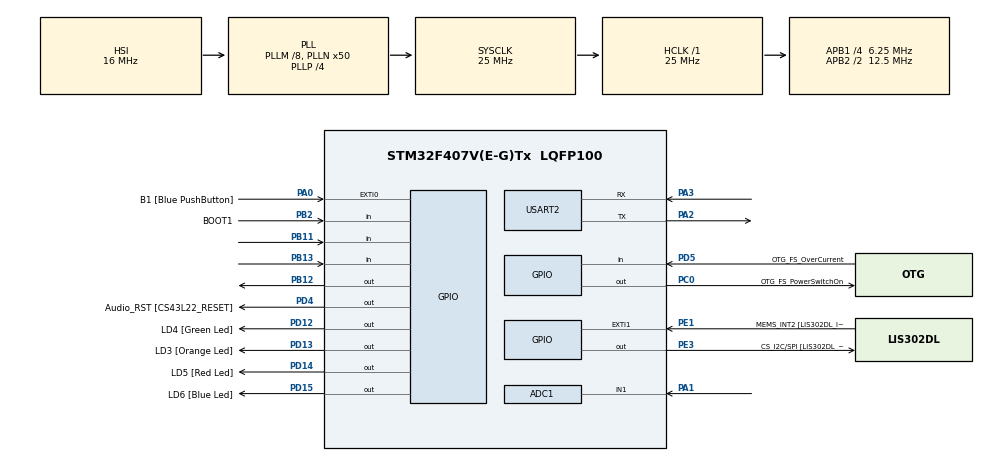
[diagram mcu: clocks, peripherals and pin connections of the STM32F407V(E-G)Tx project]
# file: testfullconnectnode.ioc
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ADC1.Channel-0\#ChannelRegularConversion=ADC_CHANNEL_1
ADC1.NbrOfConversionFlag=1
ADC1.Rank-0\#ChannelRegularConversion=1
ADC1.SamplingTime-0\#ChannelRegularConversion=ADC_SAMPLETIME_3CYCLES
ADC1.master=1
Mcu.Family=STM32F4
Mcu.Name=STM32F407V(E-G)Tx
Mcu.Package=LQFP100
NVIC.ADC_IRQn=true\:0\:0\:false\:false\:true\:true
NVIC.PriorityGroup=NVIC_PRIORITYGROUP_0
PA0-WKUP.GPIO_Label=B1 [Blue PushButton]
PA0-WKUP.Signal=GPXTI0
PA1.Signal=ADCx_IN1
PA10.GPIO_Label=OTG_FS_ID
PA10.GPIO_Mode=GPIO_MODE_AF_PP
PA10.GPIO_PuPd=GPIO_NOPULL
PA10.GPIO_Speed=GPIO_SPEED_FREQ_LOW
PA10.Signal=USB_OTG_FS_ID
PA11.GPIO_Label=OTG_FS_DM
PA11.GPIO_Mode=GPIO_MODE_AF_PP
PA11.GPIO_PuPd=GPIO_NOPULL
PA11.GPIO_Speed=GPIO_SPEED_FREQ_LOW
PA11.Signal=USB_OTG_FS_DM
PA12.GPIO_Label=OTG_FS_DP
PA12.GPIO_Mode=GPIO_MODE_AF_PP
PA12.GPIO_PuPd=GPIO_NOPULL
PA12.GPIO_Speed=GPIO_SPEED_FREQ_LOW
PA12.Signal=USB_OTG_FS_DP
PA13.GPIO_Label=SWDIO
PA13.Signal=SYS_JTMS-SWDIO
PA14.GPIO_Label=SWCLK
PA14.Signal=SYS_JTCK-SWCLK
PA2.Mode=Asynchronous
PA2.Signal=USART2_TX
PA3.Mode=Asynchronous
PA3.Signal=USART2_RX
PA4.GPIO_Label=I2S3_WS [CS43L22_LRCK]
PA4.GPIO_Mode=GPIO_MODE_AF_PP
PA4.GPIO_PuPd=GPIO_NOPULL
PA4.GPIO_Speed=GPIO_SPEED_FREQ_LOW
PA4.Signal=I2S3_WS
PA5.GPIO_Label=SPI1_SCK [LIS302DL_SCL/SPC]
PA5.GPIO_Mode=GPIO_MODE_AF_PP
PA5.GPIO_PuPd=GPIO_NOPULL
PA5.GPIO_Speed=GPIO_SPEED_FREQ_LOW
PA5.Signal=SPI1_SCK
PA6.GPIO_Label=SPI1_MISO [LIS302DL_SDO]
PA6.GPIO_Mode=GPIO_MODE_AF_PP
PA6.GPIO_PuPd=GPIO_NOPULL
PA6.GPIO_Speed=GPIO_SPEED_FREQ_LOW
PA6.Signal=SPI1_MISO
PA7.GPIO_Label=SPI1_MOSI [LIS302DL_SDA/SDI/SDO]
PA7.GPIO_Mode=GPIO_MODE_AF_PP
PA7.GPIO_PuPd=GPIO_NOPULL
PA7.GPIO_Speed=GPIO_SPEED_FREQ_LOW
PA7.Signal=SPI1_MOSI
PA9.GPIO_Label=VBUS_FS
PA9.GPIO_Mode=GPIO_MODE_INPUT
PA9.GPIO_PuPd=GPIO_NOPULL
PA9.Signal=USB_OTG_FS_VBUS
PB10.GPIO_Label=CLK_IN [MP45DT02_CLK]
PB10.GPIO_Mode=GPIO_MODE_AF_PP
PB10.GPIO_PuPd=GPIO_NOPULL
PB10.GPIO_Speed=GPIO_SPEED_FREQ_LOW
PB10.Signal=I2S2_CK
PB11.Signal=GPIO_Input
PB12.Signal=GPIO_Output
PB13.Signal=GPIO_Input
PB2.GPIO_Label=BOOT1
PB2.GPIO_Mode=GPIO_MODE_INPUT
PB2.GPIO_PuPd=GPIO_NOPULL
PB2.Signal=GPIO_Input
PB3.GPIO_Label=SWO
PB3.Signal=SYS_JTDO-SWO
PB6.GPIO_Label=Audio_SCL [CS43L22_SCL]
PB6.GPIO_Mode=GPIO_MODE_AF_OD
PB6.GPIO_PuPd=GPIO_NOPULL
PB6.GPIO_Speed=GPIO_SPEED_FREQ_LOW
PB6.Signal=I2C1_SCL
PB9.GPIO_Label=Audio_SDA [CS43L22_SDA]
PB9.GPIO_Mode=GPIO_MODE_AF_OD
PB9.GPIO_PuPd=GPIO_NOPULL
PB9.GPIO_Speed=GPIO_SPEED_FREQ_LOW
PB9.Signal=I2C1_SDA
PC0.GPIO_Label=OTG_FS_PowerSwitchOn
PC0.GPIO_PuPd=GPIO_NOPULL
PC0.GPIO_Speed=GPIO_SPEED_FREQ_LOW
PC0.PinState=GPIO_PIN_SET
PC0.Signal=GPIO_Output
PC10.GPIO_Label=I2S3_SCK [CS43L22_SCLK]
PC10.GPIO_Mode=GPIO_MODE_AF_PP
PC10.GPIO_PuPd=GPIO_NOPULL
PC10.GPIO_Speed=GPIO_SPEED_FREQ_LOW
PC10.Signal=I2S3_CK
PC12.GPIO_Label=I2S3_SD [CS43L22_SDIN]
PC12.GPIO_Mode=GPIO_MODE_AF_PP
PC12.GPIO_PuPd=GPIO_NOPULL
PC12.GPIO_Speed=GPIO_SPEED_FREQ_LOW
PC12.Signal=I2S3_SD
PC14-OSC32_IN.GPIO_Label=PC14-OSC32_IN
PC14-OSC32_IN.Signal=RCC_OSC32_IN
PC15-OSC32_OUT.GPIO_Label=PC15-OSC32_OUT
PC15-OSC32_OUT.Signal=RCC_OSC32_OUT
PC3.GPIO_Label=PDM_OUT [MP45DT02_DOUT]
PC3.GPIO_Mode=GPIO_MODE_AF_PP
PC3.GPIO_PuPd=GPIO_NOPULL
PC3.GPIO_Speed=GPIO_SPEED_FREQ_LOW
PC3.Signal=I2S2_SD
PC7.GPIO_Label=I2S3_MCK [CS43L22_MCLK]
PC7.GPIO_Mode=GPIO_MODE_AF_PP
PC7.GPIO_PuPd=GPIO_NOPULL
PC7.GPIO_Speed=GPIO_SPEED_FREQ_LOW
PC7.Signal=I2S3_MCK
PD12.GPIO_Label=LD4 [Green Led]
PD12.GPIO_PuPd=GPIO_NOPULL
PD12.GPIO_Speed=GPIO_SPEED_FREQ_LOW
PD12.Signal=GPIO_Output
PD13.GPIO_Label=LD3 [Orange Led]
PD13.GPIO_PuPd=GPIO_NOPULL
PD13.GPIO_Speed=GPIO_SPEED_FREQ_LOW
PD13.Signal=GPIO_Output
PD14.GPIO_Label=LD5 [Red Led]
PD14.GPIO_PuPd=GPIO_NOPULL
PD14.GPIO_Speed=GPIO_SPEED_FREQ_LOW
PD14.Signal=GPIO_Output
PD15.GPIO_Label=LD6 [Blue Led]
PD15.GPIO_PuPd=GPIO_NOPULL
PD15.GPIO_Speed=GPIO_SPEED_FREQ_LOW
PD15.Signal=GPIO_Output
PD4.GPIO_Label=Audio_RST [CS43L22_RESET]
PD4.GPIO_PuPd=GPIO_NOPULL
PD4.GPIO_Speed=GPIO_SPEED_FREQ_LOW
PD4.Signal=GPIO_Output
PD5.GPIO_Label=OTG_FS_OverCurrent
PD5.GPIO_Mode=GPIO_MODE_INPUT
PD5.GPIO_PuPd=GPIO_NOPULL
PD5.Signal=GPIO_Input
PE1.GPIO_Label=MEMS_INT2 [LIS302DL_INT2]
PE1.GPIO_ModeDefaultEXTI=GPIO_MODE_EVT_RISING
PE1.GPIO_PuPd=GPIO_NOPULL
PE1.Signal=GPXTI1
PE3.GPIO_Label=CS_I2C/SPI [LIS302DL_CS_I2C/SPI]
PE3.GPIO_PuPd=GPIO_NOPULL
PE3.GPIO_Speed=GPIO_SPEED_FREQ_LOW
PE3.Signal=GPIO_Output
PH0-OSC_IN.GPIO_Label=PH0-OSC_IN
PH0-OSC_IN.Signal=RCC_OSC_IN
PH1-OSC_OUT.GPIO_Label=PH1-OSC_OUT
PH1-OSC_OUT.Signal=RCC_OSC_OUT
ProjectManager.HeapSize=0x200
ProjectManager.StackSize=0x400
ProjectManager.TargetToolchain=SW4STM32
RCC.48MHZClocksFreq_Value=14285714.285714285
RCC.AHBFreq_Value=25000000
RCC.APB1CLKDivider=RCC_HCLK_DIV4
RCC.APB1Freq_Value=6250000
RCC.APB1TimFreq_Value=12500000
RCC.APB2CLKDivider=RCC_HCLK_DIV2
RCC.APB2Freq_Value=12500000
RCC.APB2TimFreq_Value=25000000
RCC.CortexFreq_Value=25000000
RCC.HCLKFreq_Value=25000000
RCC.HSE_VALUE=8000000
RCC.HSI_VALUE=16000000
RCC.LSE_VALUE=32768
RCC.PLLM=8
RCC.PLLN=50
RCC.PLLP=RCC_PLLP_DIV4
RCC.PLLQ=7
RCC.SYSCLKFreq_VALUE=25000000
RCC.SYSCLKSource=RCC_SYSCLKSOURCE_PLLCLK
RCC.VCOOutputFreq_Value=100000000
SH.ADCx_IN1.0=ADC1_IN1,IN1
USART2.VirtualMode=VM_ASYNC
VP_ADC1_Vbat_Input.Mode=IN-Vbat
board=STM32F4DISCOVERY

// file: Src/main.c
/**
 ******************************************************************************
 * File Name          : main.c
 * Description        : Main program body
 ******************************************************************************
 ** This notice applies to any and all portions of this file
 * that are not between comment pairs USER CODE BEGIN and
 * USER CODE END. Other portions of this file, whether
 * inserted by the user or by software development tools
 * are owned by their respective copyright owners.
 *
 * COPYRIGHT(c) 2017 STMicroelectronics
 *
 * Redistribution and use in source and binary forms, with or without modification,
 * are permitted provided that the following conditions are met:
 *   1. Redistributions of source code must retain the above copyright notice,
 *      this list of conditions and the following disclaimer.
 *   2. Redistributions in binary form must reproduce the above copyright notice,
 *      this list of conditions and the following disclaimer in the documentation
 *      and/or other materials provided with the distribution.
 *   3. Neither the name of STMicroelectronics nor the names of its contributors
 *      may be used to endorse or promote products derived from this software
 *      without specific prior written permission.
 *
 * THIS SOFTWARE IS PROVIDED BY THE COPYRIGHT HOLDERS AND CONTRIBUTORS "AS IS"
 * AND ANY EXPRESS OR IMPLIED WARRANTIES, INCLUDING, BUT NOT LIMITED TO, THE
 * IMPLIED WARRANTIES OF MERCHANTABILITY AND FITNESS FOR A PARTICULAR PURPOSE ARE
 * DISCLAIMED. IN NO EVENT SHALL THE COPYRIGHT HOLDER OR CONTRIBUTORS BE LIABLE
 * FOR ANY DIRECT, INDIRECT, INCIDENTAL, SPECIAL, EXEMPLARY, OR CONSEQUENTIAL
 * DAMAGES (INCLUDING, BUT NOT LIMITED TO, PROCUREMENT OF SUBSTITUTE GOODS OR
 * SERVICES; LOSS OF USE, DATA, OR PROFITS; OR BUSINESS INTERRUPTION) HOWEVER
 * CAUSED AND ON ANY THEORY OF LIABILITY, WHETHER IN CONTRACT, STRICT LIABILITY,
 * OR TORT (INCLUDING NEGLIGENCE OR OTHERWISE) ARISING IN ANY WAY OUT OF THE USE
 * OF THIS SOFTWARE, EVEN IF ADVISED OF THE POSSIBILITY OF SUCH DAMAGE.
 *
 ******************************************************************************
 */

#include "main.h"
#include "stm32f4xx_hal.h"

/* USER CODE BEGIN Includes */
#define OPEN 0
#define CLOSE 1
#define UNLOCK 1
#define LOCK 2
/* USER CODE END Includes */

ADC_HandleTypeDef hadc1;

UART_HandleTypeDef huart2;

/* USER CODE BEGIN PV */
/* Private variables ---------------------------------------------------------*/

/* USER CODE END PV */

void SystemClock_Config(void);
static void MX_GPIO_Init(void);
static void MX_ADC1_Init(void);
static void MX_USART2_UART_Init(void);

/* USER CODE BEGIN PFP */
/* Private function prototypes -----------------------------------------------*/

/* USER CODE END PFP */

int main(void) {

	/* MCU Configuration----------------------------------------------------------*/

	/* Reset of all peripherals, Initializes the Flash interface and the Systick. */
	HAL_Init();

	/* Configure the system clock */
	SystemClock_Config();

	/* Initialize all configured peripherals */
	MX_GPIO_Init();
	MX_ADC1_Init();
	MX_USART2_UART_Init();

	/* USER CODE BEGIN 2 */
	uint32_t temp;
	int door_status = CLOSE;
	int knock = 0;
	int door_oneshot = 0;
	int lock_check=0;
	int unlock_check=0;

	HAL_GPIO_WritePin(GPIOD, GPIO_PIN_12, GPIO_PIN_SET);
	/* USER CODE END 2 */

	/* Infinite loop */
	while (1) {

		/* USER CODE BEGIN 3 */
		//========read knocking=======================================================
		HAL_ADC_Start(&hadc1);
		temp = 0;
		temp = HAL_ADC_GetValue(&hadc1);
		if (temp > 1000 && knock == 0) {
			if (door_status == LOCK || door_status == CLOSE) {
				HAL_GPIO_WritePin(GPIOD, GPIO_PIN_15, 1); 								//tell LED door knocked
				HAL_Delay(500);
				HAL_UART_Transmit(&huart2, "K", strlen("K"),100);
				HAL_GPIO_WritePin(GPIOD, GPIO_PIN_15, 0);
				knock = 1;
			}
		} else if (temp <= 1000 && knock == 1) {
			knock = 0;
		}

		//========== status door = close/open =========================================
		if (HAL_GPIO_ReadPin(GPIOA, GPIO_PIN_0) == GPIO_PIN_SET
				&& door_oneshot == 0) {
			if (door_status == CLOSE) {																	//or unlock
				HAL_GPIO_WritePin(GPIOD, GPIO_PIN_12, GPIO_PIN_RESET);		//set LED door open=off
				door_status = OPEN;
				HAL_UART_Transmit(&huart2, "O", strlen("O"), 100);
				HAL_Delay(200);
			} else if (door_status == OPEN) {
				HAL_GPIO_WritePin(GPIOD, GPIO_PIN_12, GPIO_PIN_SET);			//set LED door close=on
				door_status = CLOSE;
				HAL_UART_Transmit(&huart2, "C", strlen("C"),100);
				HAL_Delay(200);
			}
			door_oneshot = 1;
		} else if (HAL_GPIO_ReadPin(GPIOA, GPIO_PIN_0) == GPIO_PIN_RESET
				&& door_oneshot == 1) {
			door_oneshot = 0;
		}

		//==========check lock door========================================
		 if (HAL_GPIO_ReadPin(GPIOB,GPIO_PIN_11) == 1 && lock_check == 0) {
			 if (door_status == CLOSE) {
				 door_status = LOCK;
				 HAL_UART_Transmit(&huart2, "L", strlen("L"),100);
				 HAL_GPIO_WritePin(GPIOD, GPIO_PIN_14, 1);	//lock the door
				 HAL_Delay(200);
				 HAL_GPIO_WritePin(GPIOD, GPIO_PIN_14, 0);
			 }
			 lock_check=1;
		 }	else if(HAL_GPIO_ReadPin(GPIOB,GPIO_PIN_11) == 0 && lock_check == 1) {
			 lock_check=0;
		 }

		 if (HAL_GPIO_ReadPin(GPIOB,GPIO_PIN_13) == 1 && unlock_check == 0) {
			 if (door_status == LOCK) {
				 door_status = UNLOCK;
				 HAL_UART_Transmit(&huart2, "U", strlen("U"),100);
				 HAL_GPIO_WritePin(GPIOD, GPIO_PIN_14, 1);
				 HAL_Delay(200);
				 HAL_GPIO_WritePin(GPIOD, GPIO_PIN_14, 0);
				 HAL_Delay(200);
				 HAL_GPIO_WritePin(GPIOD, GPIO_PIN_14, 1);
				 HAL_Delay(200);
				 HAL_GPIO_WritePin(GPIOD, GPIO_PIN_14, 0);
			 }
			 unlock_check=1;
		 } else if(HAL_GPIO_ReadPin(GPIOB,GPIO_PIN_13) == 1 && unlock_check == 1){
			 unlock_check=0;
		 }

	}
	/* USER CODE END 3 */

}

/** System Clock Configuration
 */
void SystemClock_Config(void) {

	RCC_OscInitTypeDef RCC_OscInitStruct;
	RCC_ClkInitTypeDef RCC_ClkInitStruct;

	/**Configure the main internal regulator output voltage
	 */
	__HAL_RCC_PWR_CLK_ENABLE()
	;

	__HAL_PWR_VOLTAGESCALING_CONFIG(PWR_REGULATOR_VOLTAGE_SCALE1);

	/**Initializes the CPU, AHB and APB busses clocks
	 */
	RCC_OscInitStruct.OscillatorType = RCC_OSCILLATORTYPE_HSI;
	RCC_OscInitStruct.HSIState = RCC_HSI_ON;
	RCC_OscInitStruct.HSICalibrationValue = 16;
	RCC_OscInitStruct.PLL.PLLState = RCC_PLL_ON;
	RCC_OscInitStruct.PLL.PLLSource = RCC_PLLSOURCE_HSI;
	RCC_OscInitStruct.PLL.PLLM = 8;
	RCC_OscInitStruct.PLL.PLLN = 50;
	RCC_OscInitStruct.PLL.PLLP = RCC_PLLP_DIV4;
	RCC_OscInitStruct.PLL.PLLQ = 7;
	if (HAL_RCC_OscConfig(&RCC_OscInitStruct) != HAL_OK) {
		_Error_Handler(__FILE__, __LINE__);
	}

	/**Initializes the CPU, AHB and APB busses clocks
	 */
	RCC_ClkInitStruct.ClockType = RCC_CLOCKTYPE_HCLK | RCC_CLOCKTYPE_SYSCLK
			| RCC_CLOCKTYPE_PCLK1 | RCC_CLOCKTYPE_PCLK2;
	RCC_ClkInitStruct.SYSCLKSource = RCC_SYSCLKSOURCE_PLLCLK;
	RCC_ClkInitStruct.AHBCLKDivider = RCC_SYSCLK_DIV1;
	RCC_ClkInitStruct.APB1CLKDivider = RCC_HCLK_DIV4;
	RCC_ClkInitStruct.APB2CLKDivider = RCC_HCLK_DIV2;

	if (HAL_RCC_ClockConfig(&RCC_ClkInitStruct, FLASH_LATENCY_0) != HAL_OK) {
		_Error_Handler(__FILE__, __LINE__);
	}

	/**Configure the Systick interrupt time
	 */
	HAL_SYSTICK_Config(HAL_RCC_GetHCLKFreq() / 1000);

	/**Configure the Systick
	 */
	HAL_SYSTICK_CLKSourceConfig(SYSTICK_CLKSOURCE_HCLK);

	/* SysTick_IRQn interrupt configuration */
	HAL_NVIC_SetPriority(SysTick_IRQn, 0, 0);
}

/* ADC1 init function */
static void MX_ADC1_Init(void) {

	ADC_ChannelConfTypeDef sConfig;

	/**Configure the global features of the ADC (Clock, Resolution, Data Alignment and number of conversion)
	 */
	hadc1.Instance = ADC1;
	hadc1.Init.ClockPrescaler = ADC_CLOCK_SYNC_PCLK_DIV2;
	hadc1.Init.Resolution = ADC_RESOLUTION_12B;
	hadc1.Init.ScanConvMode = DISABLE;
	hadc1.Init.ContinuousConvMode = DISABLE;
	hadc1.Init.DiscontinuousConvMode = DISABLE;
	hadc1.Init.ExternalTrigConvEdge = ADC_EXTERNALTRIGCONVEDGE_NONE;
	hadc1.Init.ExternalTrigConv = ADC_SOFTWARE_START;
	hadc1.Init.DataAlign = ADC_DATAALIGN_RIGHT;
	hadc1.Init.NbrOfConversion = 1;
	hadc1.Init.DMAContinuousRequests = DISABLE;
	hadc1.Init.EOCSelection = ADC_EOC_SINGLE_CONV;
	if (HAL_ADC_Init(&hadc1) != HAL_OK) {
		_Error_Handler(__FILE__, __LINE__);
	}

	/**Configure for the selected ADC regular channel its corresponding rank in the sequencer and its sample time.
	 */
	sConfig.Channel = ADC_CHANNEL_1;
	sConfig.Rank = 1;
	sConfig.SamplingTime = ADC_SAMPLETIME_3CYCLES;
	if (HAL_ADC_ConfigChannel(&hadc1, &sConfig) != HAL_OK) {
		_Error_Handler(__FILE__, __LINE__);
	}

}

/* USART2 init function */
static void MX_USART2_UART_Init(void) {

	huart2.Instance = USART2;
	huart2.Init.BaudRate = 9600;
	huart2.Init.WordLength = UART_WORDLENGTH_8B;
	huart2.Init.StopBits = UART_STOPBITS_1;
	huart2.Init.Parity = UART_PARITY_NONE;
	huart2.Init.Mode = UART_MODE_TX_RX;
	huart2.Init.HwFlowCtl = UART_HWCONTROL_NONE;
	huart2.Init.OverSampling = UART_OVERSAMPLING_16;
	if (HAL_UART_Init(&huart2) != HAL_OK) {
		_Error_Handler(__FILE__, __LINE__);
	}

}

/** Configure pins as
 * Analog
 * Input
 * Output
 * EVENT_OUT
 * EXTI
 PC3   ------> I2S2_SD
 PA4   ------> I2S3_WS
 PA5   ------> SPI1_SCK
 PA6   ------> SPI1_MISO
 PA7   ------> SPI1_MOSI
 PB10   ------> I2S2_CK
 PC7   ------> I2S3_MCK
 PA9   ------> USB_OTG_FS_VBUS
 PA10   ------> USB_OTG_FS_ID
 PA11   ------> USB_OTG_FS_DM
 PA12   ------> USB_OTG_FS_DP
 PC10   ------> I2S3_CK
 PC12   ------> I2S3_SD
 PB6   ------> I2C1_SCL
 PB9   ------> I2C1_SDA
 */
static void MX_GPIO_Init(void) {

	GPIO_InitTypeDef GPIO_InitStruct;

	/* GPIO Ports Clock Enable */
	__HAL_RCC_GPIOE_CLK_ENABLE()
	;
	__HAL_RCC_GPIOC_CLK_ENABLE()
	;
	__HAL_RCC_GPIOH_CLK_ENABLE()
	;
	__HAL_RCC_GPIOA_CLK_ENABLE()
	;
	__HAL_RCC_GPIOB_CLK_ENABLE()
	;
	__HAL_RCC_GPIOD_CLK_ENABLE()
	;

	/*Configure GPIO pin Output Level */
	HAL_GPIO_WritePin(CS_I2C_SPI_GPIO_Port, CS_I2C_SPI_Pin, GPIO_PIN_RESET);

	/*Configure GPIO pin Output Level */
	HAL_GPIO_WritePin(OTG_FS_PowerSwitchOn_GPIO_Port, OTG_FS_PowerSwitchOn_Pin,
			GPIO_PIN_SET);

	/*Configure GPIO pin Output Level */
	HAL_GPIO_WritePin(GPIOB, GPIO_PIN_12, GPIO_PIN_RESET);

	/*Configure GPIO pin Output Level */
	HAL_GPIO_WritePin(GPIOD,
	LD4_Pin | LD3_Pin | LD5_Pin | LD6_Pin | Audio_RST_Pin, GPIO_PIN_RESET);

	/*Configure GPIO pin : CS_I2C_SPI_Pin */
	GPIO_InitStruct.Pin = CS_I2C_SPI_Pin;
	GPIO_InitStruct.Mode = GPIO_MODE_OUTPUT_PP;
	GPIO_InitStruct.Pull = GPIO_NOPULL;
	GPIO_InitStruct.Speed = GPIO_SPEED_FREQ_LOW;
	HAL_GPIO_Init(CS_I2C_SPI_GPIO_Port, &GPIO_InitStruct);

	/*Configure GPIO pin : OTG_FS_PowerSwitchOn_Pin */
	GPIO_InitStruct.Pin = OTG_FS_PowerSwitchOn_Pin;
	GPIO_InitStruct.Mode = GPIO_MODE_OUTPUT_PP;
	GPIO_InitStruct.Pull = GPIO_NOPULL;
	GPIO_InitStruct.Speed = GPIO_SPEED_FREQ_LOW;
	HAL_GPIO_Init(OTG_FS_PowerSwitchOn_GPIO_Port, &GPIO_InitStruct);

	/*Configure GPIO pin : PDM_OUT_Pin */
	GPIO_InitStruct.Pin = PDM_OUT_Pin;
	GPIO_InitStruct.Mode = GPIO_MODE_AF_PP;
	GPIO_InitStruct.Pull = GPIO_NOPULL;
	GPIO_InitStruct.Speed = GPIO_SPEED_FREQ_LOW;
	GPIO_InitStruct.Alternate = GPIO_AF5_SPI2;
	HAL_GPIO_Init(PDM_OUT_GPIO_Port, &GPIO_InitStruct);

	/*Configure GPIO pin : B1_Pin */
	GPIO_InitStruct.Pin = B1_Pin;
	GPIO_InitStruct.Mode = GPIO_MODE_IT_RISING;
	GPIO_InitStruct.Pull = GPIO_NOPULL;
	HAL_GPIO_Init(B1_GPIO_Port, &GPIO_InitStruct);

	/*Configure GPIO pin : I2S3_WS_Pin */
	GPIO_InitStruct.Pin = I2S3_WS_Pin;
	GPIO_InitStruct.Mode = GPIO_MODE_AF_PP;
	GPIO_InitStruct.Pull = GPIO_NOPULL;
	GPIO_InitStruct.Speed = GPIO_SPEED_FREQ_LOW;
	GPIO_InitStruct.Alternate = GPIO_AF6_SPI3;
	HAL_GPIO_Init(I2S3_WS_GPIO_Port, &GPIO_InitStruct);

	/*Configure GPIO pins : SPI1_SCK_Pin SPI1_MISO_Pin SPI1_MOSI_Pin */
	GPIO_InitStruct.Pin = SPI1_SCK_Pin | SPI1_MISO_Pin | SPI1_MOSI_Pin;
	GPIO_InitStruct.Mode = GPIO_MODE_AF_PP;
	GPIO_InitStruct.Pull = GPIO_NOPULL;
	GPIO_InitStruct.Speed = GPIO_SPEED_FREQ_LOW;
	GPIO_InitStruct.Alternate = GPIO_AF5_SPI1;
	HAL_GPIO_Init(GPIOA, &GPIO_InitStruct);

	/*Configure GPIO pins : BOOT1_Pin PB11 PB13 */
	GPIO_InitStruct.Pin = BOOT1_Pin | GPIO_PIN_11 | GPIO_PIN_13;
	GPIO_InitStruct.Mode = GPIO_MODE_INPUT;
	GPIO_InitStruct.Pull = GPIO_NOPULL;
	HAL_GPIO_Init(GPIOB, &GPIO_InitStruct);

	/*Configure GPIO pin : CLK_IN_Pin */
	GPIO_InitStruct.Pin = CLK_IN_Pin;
	GPIO_InitStruct.Mode = GPIO_MODE_AF_PP;
	GPIO_InitStruct.Pull = GPIO_NOPULL;
	GPIO_InitStruct.Speed = GPIO_SPEED_FREQ_LOW;
	GPIO_InitStruct.Alternate = GPIO_AF5_SPI2;
	HAL_GPIO_Init(CLK_IN_GPIO_Port, &GPIO_InitStruct);

	/*Configure GPIO pin : PB12 */
	GPIO_InitStruct.Pin = GPIO_PIN_12;
	GPIO_InitStruct.Mode = GPIO_MODE_OUTPUT_PP;
	GPIO_InitStruct.Pull = GPIO_NOPULL;
	GPIO_InitStruct.Speed = GPIO_SPEED_FREQ_LOW;
	HAL_GPIO_Init(GPIOB, &GPIO_InitStruct);

	/*Configure GPIO pins : LD4_Pin LD3_Pin LD5_Pin LD6_Pin
	 Audio_RST_Pin */
	GPIO_InitStruct.Pin = LD4_Pin | LD3_Pin | LD5_Pin | LD6_Pin | Audio_RST_Pin;
	GPIO_InitStruct.Mode = GPIO_MODE_OUTPUT_PP;
	GPIO_InitStruct.Pull = GPIO_NOPULL;
	GPIO_InitStruct.Speed = GPIO_SPEED_FREQ_LOW;
	HAL_GPIO_Init(GPIOD, &GPIO_InitStruct);

	/*Configure GPIO pins : I2S3_MCK_Pin I2S3_SCK_Pin I2S3_SD_Pin */
	GPIO_InitStruct.Pin = I2S3_MCK_Pin | I2S3_SCK_Pin | I2S3_SD_Pin;
	GPIO_InitStruct.Mode = GPIO_MODE_AF_PP;
	GPIO_InitStruct.Pull = GPIO_NOPULL;
	GPIO_InitStruct.Speed = GPIO_SPEED_FREQ_LOW;
	GPIO_InitStruct.Alternate = GPIO_AF6_SPI3;
	HAL_GPIO_Init(GPIOC, &GPIO_InitStruct);

	/*Configure GPIO pin : VBUS_FS_Pin */
	GPIO_InitStruct.Pin = VBUS_FS_Pin;
	GPIO_InitStruct.Mode = GPIO_MODE_INPUT;
	GPIO_InitStruct.Pull = GPIO_NOPULL;
	HAL_GPIO_Init(VBUS_FS_GPIO_Port, &GPIO_InitStruct);

	/*Configure GPIO pins : OTG_FS_ID_Pin OTG_FS_DM_Pin OTG_FS_DP_Pin */
	GPIO_InitStruct.Pin = OTG_FS_ID_Pin | OTG_FS_DM_Pin | OTG_FS_DP_Pin;
	GPIO_InitStruct.Mode = GPIO_MODE_AF_PP;
	GPIO_InitStruct.Pull = GPIO_NOPULL;
	GPIO_InitStruct.Speed = GPIO_SPEED_FREQ_LOW;
	GPIO_InitStruct.Alternate = GPIO_AF10_OTG_FS;
	HAL_GPIO_Init(GPIOA, &GPIO_InitStruct);

	/*Configure GPIO pin : OTG_FS_OverCurrent_Pin */
	GPIO_InitStruct.Pin = OTG_FS_OverCurrent_Pin;
	GPIO_InitStruct.Mode = GPIO_MODE_INPUT;
	GPIO_InitStruct.Pull = GPIO_NOPULL;
	HAL_GPIO_Init(OTG_FS_OverCurrent_GPIO_Port, &GPIO_InitStruct);

	/*Configure GPIO pins : Audio_SCL_Pin Audio_SDA_Pin */
	GPIO_InitStruct.Pin = Audio_SCL_Pin | Audio_SDA_Pin;
	GPIO_InitStruct.Mode = GPIO_MODE_AF_OD;
	GPIO_InitStruct.Pull = GPIO_PULLUP;
	GPIO_InitStruct.Speed = GPIO_SPEED_FREQ_LOW;
	GPIO_InitStruct.Alternate = GPIO_AF4_I2C1;
	HAL_GPIO_Init(GPIOB, &GPIO_InitStruct);

	/*Configure GPIO pin : MEMS_INT2_Pin */
	GPIO_InitStruct.Pin = MEMS_INT2_Pin;
	GPIO_InitStruct.Mode = GPIO_MODE_EVT_RISING;
	GPIO_InitStruct.Pull = GPIO_NOPULL;
	HAL_GPIO_Init(MEMS_INT2_GPIO_Port, &GPIO_InitStruct);

}

void _Error_Handler(char * file, int line) {
	while (1) {
	}
}

/************************ (C) COPYRIGHT STMicroelectronics *****END OF FILE****/
